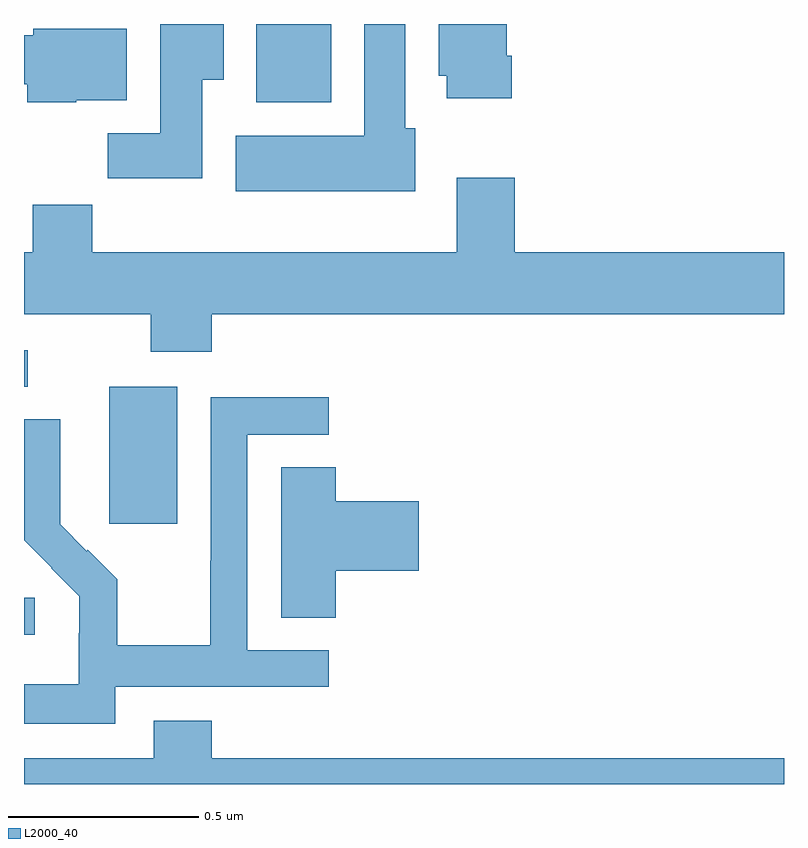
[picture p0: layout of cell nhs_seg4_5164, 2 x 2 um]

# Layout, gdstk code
import gdstk
lib = gdstk.Library(unit=1e-6, precision=1e-09)
def R(c, l, rs):  # rectangles x0, y0, x1, y1
    for r in rs: c.add(gdstk.rectangle(r[:2], r[2:], *l))
def P(c, l, *ps):  # polygons
    for p in ps: c.add(gdstk.Polygon(p, *l))
L2000_40 = (2000, 40)

nhs_seg4_5164 = lib.new_cell('nhs_seg4_5164')
R(nhs_seg4_5164, L2000_40, [(174,813.293,174.028,813.39), (174.224,813.585,174.403,813.946), (174,813.945,174.01,814.041), (174.611,814.694,174.808,814.9)])
P(nhs_seg4_5164, L2000_40, [(174.469,814.753),(174.526,814.753),(174.526,814.9),(174.359,814.9),(174.359,814.612),(174.22,814.612),(174.22,814.494),(174.469,814.494)],
  [(175.03,814.626),(175.003,814.626),(175.003,814.9),(174.896,814.9),(174.896,814.606),(174.557,814.606),(174.557,814.46),(175.03,814.46)],
  [(175.283,814.816),(175.27,814.816),(175.27,814.9),(175.091,814.9),(175.091,814.764),(175.112,814.764),(175.112,814.704),(175.283,814.704)],
  [(174.138,814.7),(174.271,814.7),(174.271,814.888),(174.024,814.888),(174.024,814.87),(174,814.87),(174,814.741),(174.008,814.741),(174.008,814.694),(174.138,814.694)],
  [(174.494,814.136),(176,814.136),(176,814.3),(175.292,814.3),(175.292,814.495),(175.139,814.495),(175.139,814.3),(174.179,814.3),(174.179,814.424),(174.023,814.424),(174.023,814.3),(174,814.3),(174,814.136),(174.334,814.136),(174.334,814.037),(174.494,814.037)],
  [(174.24,813.156),(174.802,813.156),(174.802,813.252),(174.588,813.252),(174.588,813.819),(174.802,813.819),(174.802,813.918),(174.492,813.918),(174.492,813.488),(174.49,813.488),(174.49,813.265),(174.245,813.265),(174.245,813.439),(174.168,813.516),(174.165,813.513),(174.095,813.584),(174.095,813.706),(174.096,813.706),(174.096,813.86),(174,813.86),(174,813.542),(174.073,813.469),(174.072,813.468),(174.146,813.394),(174.146,813.297),(174.144,813.297),(174.144,813.163),(174,813.163),(174,813.059),(174.24,813.059)],
  [(174.821,813.461),(175.039,813.461),(175.039,813.644),(174.821,813.644),(174.821,813.734),(174.677,813.734),(174.677,813.337),(174.821,813.337)],
  [(176,812.968),(174.494,812.968),(174.494,813.067),(174.341,813.067),(174.341,812.968),(174,812.968),(174,812.9),(176,812.9)])

lib.write_gds('nhs_seg4_5164.gds')
